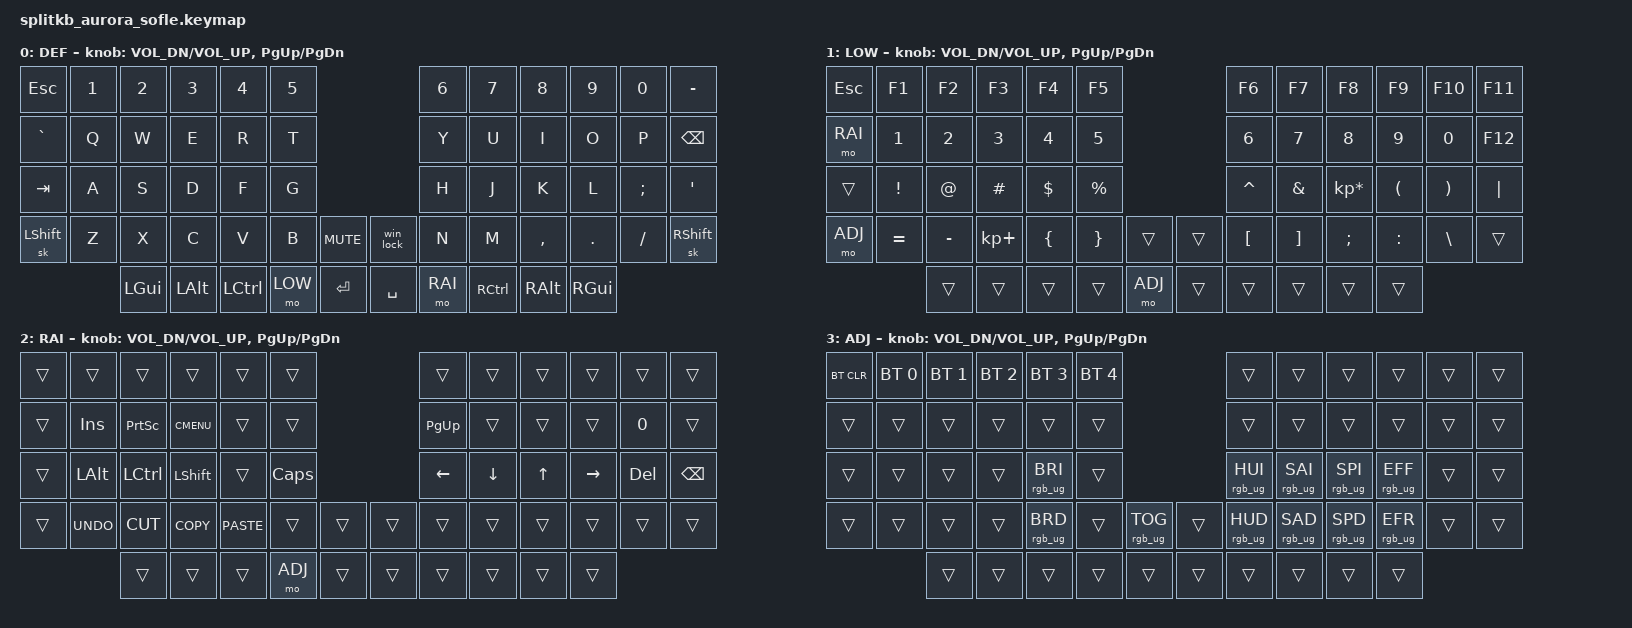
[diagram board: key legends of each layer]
/*
 * Copyright (c) 2023 The ZMK Contributors
 *
 * SPDX-License-Identifier: MIT
 */

#include <behaviors.dtsi>
#include <dt-bindings/zmk/keys.h>
#include <dt-bindings/zmk/bt.h>
#include <dt-bindings/zmk/ext_power.h>
#include <dt-bindings/zmk/rgb.h>
#include <zmk-helpers/helper.h>
#include <zmk-helpers/key-labels/sofle.h>


#define DEF 0
#define LOW 1
#define RAI 2
#define ADJ 3
#define MSE 4

#define XXX &none
#define ___ &trans

#define QUICK_TAP_MS 175



&led_strip {
    /* chain-length = <6>; */
    chain-length = <36>; // Uncomment if using both per-key and underglow LEDs
    // chain-length = <29>; // Uncomment if using only per-key LEDs.
};

/ {
    macros {
        win_lock: win_lock {
            compatible = "zmk,behavior-macro";
            #binding-cells = <0>;
            bindings
                = <&macro_press &kp LGUI>
                , <&macro_tap &kp L>
                , <&macro_release &kp LGUI>
                ;
        };
    };

    keymap {
        compatible = "zmk,keymap";

        default_layer {
            display-name = "DEF";
            // ------------------------------------------------------------------------------------------------------------
            // |  ESC  |  1  |  2  |  3   |  4   |  5   |                   |  6   |  7    |  8    |  9   |   0   |   -   |
            // |  `    |  Q  |  W  |  E   |  R   |  T   |                   |  Y   |  U    |  I    |  O   |   P   | BKSPC |
            // |  TAB  |  A  |  S  |  D   |  F   |  G   |                   |  H   |  J    |  K    |  L   |   ;   |   '   |
            // | SHIFT |  Z  |  X  |  C   |  V   |  B   |  MUTE  |  |  LOCK |  N   |  M    |  ,    |  .   |   /   | SHIFT |
            //               | GUI | ALT  | CTRL | LOWER|  ENTER |  | SPACE | RAISE| CTRL  | ALT   | GUI  |

            bindings = <
                &kp ESC     &kp N1  &kp N2    &kp N3    &kp N4     &kp N5                            &kp N6  &kp N7     &kp N8     &kp N9    &kp N0    &kp MINUS
                &kp GRAVE   &kp Q   &kp W     &kp E     &kp R      &kp T                             &kp Y   &kp U      &kp I      &kp O     &kp P     &kp BSPC
                &kp TAB     &kp A   &kp S     &kp D     &kp F      &kp G                             &kp H   &kp J      &kp K      &kp L     &kp SEMI  &kp SQT
                &sk LSHFT   &kp Z   &kp X     &kp C     &kp V      &kp B   &kp C_MUTE    &win_lock   &kp N   &kp M      &kp COMMA  &kp DOT   &kp FSLH  &sk RSHFT
                                    &kp LGUI  &kp LALT  &kp LCTRL  &mo LOW &kp RET       &kp SPACE   &mo RAI &kp RCTRL  &kp RALT   &kp RGUI
            >;

            sensor-bindings = <&inc_dec_kp C_VOL_DN C_VOL_UP &inc_dec_kp PG_UP PG_DN>;
        };

        lower_layer {
            display-name = "LOW";
            // ------------------------------------------------------------------------------------------------------------
            // | ESC   |  F1 |  F2 |  F3  |  F4  |  F5  |                   |  F6  |  F7   |  F8   |  F9  |  F10  |  F11  |
            // | RAISE |   1 |   2 |   3  |   4  |   5  |                   |   6  |   7   |   8   |   9  |    0  |  F12  |
            // |       |  !  |  @  |  #   |  $   |  %   |                   |  ^   |  &    |  *    |  (   |   )   |   |   |
            // |  ADJ  |  =  |  -  |  +   |  {   |  }   |        |  |       |  [   |  ]    |  ;    |  :   |   \   |       |
            //               |     |      |      |      |        |  |       | ADJ  |       |       |      |

            bindings = <
                &kp ESC    &kp F1     &kp F2     &kp F3       &kp F4    &kp F5                       &kp F6     &kp F7    &kp F8           &kp F9     &kp F10   &kp F11
                &mo RAI    &kp N1     &kp N2     &kp N3       &kp N4    &kp N5                       &kp N6     &kp N7    &kp N8           &kp N9     &kp N0    &kp F12
                &trans     &kp EXCL   &kp AT     &kp HASH     &kp DLLR  &kp PRCNT                    &kp CARET  &kp AMPS  &kp KP_MULTIPLY  &kp LPAR   &kp RPAR  &kp PIPE
                &mo ADJ    &kp EQUAL  &kp MINUS  &kp KP_PLUS  &kp LBRC  &kp RBRC   ___       ___     &kp LBKT   &kp RBKT  &kp SEMI         &kp COLON  &kp BSLH  &trans
                                      ___        ___          ___       ___        &mo ADJ   ___     ___        ___       ___              ___
            >;

            sensor-bindings = <&inc_dec_kp C_VOL_DN C_VOL_UP &inc_dec_kp PG_UP PG_DN>;
        };

        raise_layer {
            display-name = "RAI";
            // ------------------------------------------------------------------------------------------------------------
            // |     |      |      |       |       |      |                |      |      |       |      |       |       |
            // |     | INS  | PSCR | GUI   |       |      |                | PGUP |      |       |      |       |       |
            // |     | ALT  | CTRL | SHIFT |       | CAPS |                |  <-  |   v  |   ^   |  ->  |  DEL  | BKSPC |
            // |     | UNDO | CUT  | COPY  | PASTE |      |      |  |      |      |      |       |      |       |       |
            //              |      |       |       | ADJ  |      |  |      |      |      |       |      |

            bindings = <
                &trans      &trans        &trans        &trans        &trans        &trans                          &trans     &trans    &trans  &trans     &trans   &trans
                &trans      &kp INS       &kp PSCRN     &kp K_CMENU   &trans        &trans                          &kp PG_UP  &trans    &trans  &trans     &kp N0   &trans
                &trans      &kp LALT      &kp LCTRL     &kp LSHFT     &trans        &kp CLCK                        &kp LEFT   &kp DOWN  &kp UP  &kp RIGHT  &kp DEL  &kp BSPC
                &trans      &kp K_UNDO    &kp K_CUT     &kp K_COPY    &kp K_PASTE   &trans        &trans    &trans  &trans     &trans    &trans  &trans     &trans   &trans
                                          &trans        &trans        &trans        &mo ADJ       &trans    &trans  &trans     &trans    &trans  &trans
            >;

            sensor-bindings = <&inc_dec_kp C_VOL_DN C_VOL_UP &inc_dec_kp PG_UP PG_DN>;
        };

        adjust_layer {
            display-name = "ADJ";
            // ------------------------------------------------------------------------------------------------------------
            // |BTCLR| BT1  | BT2  |  BT3  |  BT4    |  BT5 |                 |       |       |       |       |       |       |
            // |     |      |      |       |         |      |                 |       |       |       |       |       |       |
            // |     |      |      |       |         |      |                 |       |       |       |       |       |       |
            // |     |      |      |       |  RGB_BRI|      |RGB_TOG|  |      |       |RGB_HUI|RGB_SAI|RGB_SPI|RGB_EFF|       |       |
            //              |      |       |  RGB_BRD|      |       |  |      |RGB_HUD|RGB_SAD|RGB_SPD|RGB_EFB|

            bindings = <
                &bt BT_CLR  &bt BT_SEL 0  &bt BT_SEL 1  &bt BT_SEL 2  &bt BT_SEL 3           &bt BT_SEL 4                               &trans           &trans           &trans           &trans             &trans   &trans
                &trans      &trans        &trans        &trans        &trans                 &trans                                     &trans           &trans           &trans           &trans             &trans   &trans
                &trans      &trans        &trans        &trans        &rgb_ug RGB_BRI        &trans                                     &rgb_ug RGB_HUI  &rgb_ug RGB_SAI  &rgb_ug RGB_SPI  &rgb_ug RGB_EFF    &trans   &trans
                &trans      &trans        &trans        &trans        &rgb_ug RGB_BRD        &trans        &rgb_ug RGB_TOG   &trans     &rgb_ug RGB_HUD  &rgb_ug RGB_SAD  &rgb_ug RGB_SPD  &rgb_ug RGB_EFR    &trans   &trans
                                          &trans        &trans        &trans                 &trans        &trans            &trans     &trans           &trans           &trans           &trans
            >;

            sensor-bindings = <&inc_dec_kp C_VOL_DN C_VOL_UP &inc_dec_kp PG_UP PG_DN>;
        };

    };
};
